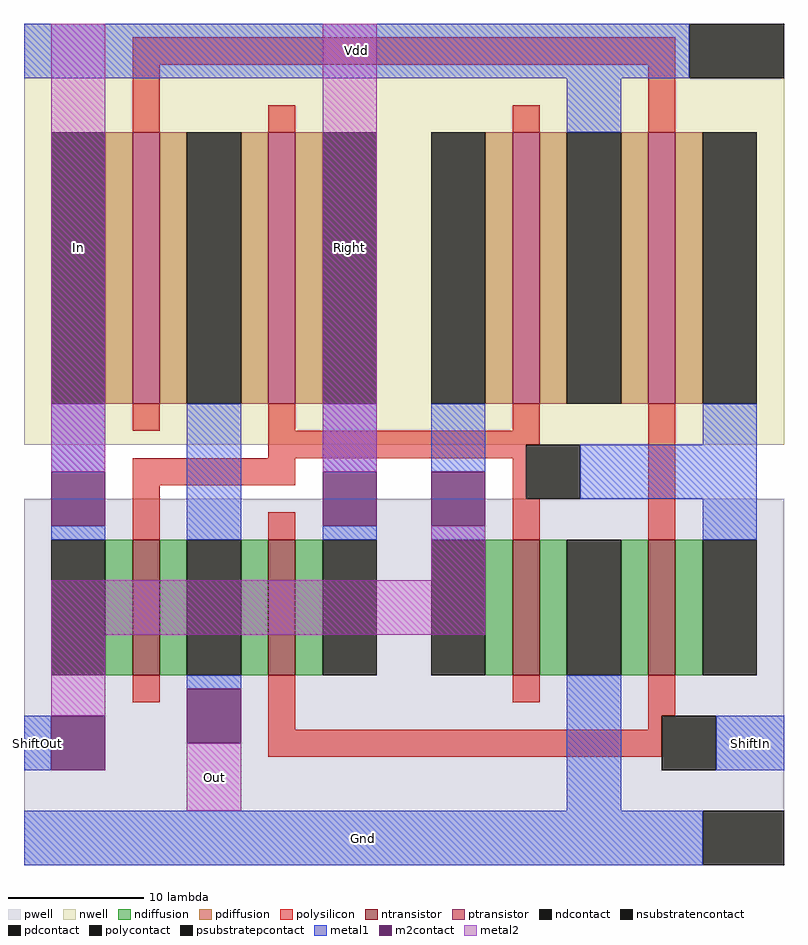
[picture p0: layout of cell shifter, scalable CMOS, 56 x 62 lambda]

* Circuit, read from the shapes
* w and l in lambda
.subckt shifter Gnd In Out Right ShiftIn ShiftOut Vdd
M1 Out n1 In Gnd nfet w=10 l=2
M2 Right ShiftIn Out Gnd nfet w=10 l=2
M3 Gnd n1 ShiftOut Gnd nfet w=10 l=2
M4 n1 ShiftIn Gnd Gnd nfet w=10 l=2
M5 Out ShiftIn In Vdd pfet w=20 l=2
M6 Right n1 Out Vdd pfet w=20 l=2
M7 Vdd n1 ShiftOut Vdd pfet w=20 l=2
M8 n1 ShiftIn Vdd Vdd pfet w=20 l=2
.ends

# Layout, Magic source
magic
tech scmos
<< pwell >>
rect -27 -29 29 -2
<< nwell >>
rect -27 2 29 33
<< polysilicon >>
rect -19 30 21 32
rect -19 25 -17 30
rect -9 25 -7 27
rect 9 25 11 27
rect 19 25 21 30
rect -19 3 -17 5
rect -9 3 -7 5
rect 9 3 11 5
rect -9 2 11 3
rect -9 1 10 2
rect -19 -1 -7 1
rect -19 -5 -17 -1
rect 9 -2 10 1
rect -9 -5 -7 -3
rect 9 -5 11 -2
rect 19 -5 21 5
rect -19 -17 -17 -15
rect -9 -19 -7 -15
rect 9 -17 11 -15
rect 19 -18 21 -15
rect 19 -19 20 -18
rect -9 -21 20 -19
<< ndiffusion >>
rect -21 -15 -19 -5
rect -17 -15 -15 -5
rect -11 -15 -9 -5
rect -7 -15 -5 -5
rect 7 -15 9 -5
rect 11 -15 13 -5
rect 17 -15 19 -5
rect 21 -15 23 -5
<< pdiffusion >>
rect -21 5 -19 25
rect -17 5 -15 25
rect -11 5 -9 25
rect -7 5 -5 25
rect 7 5 9 25
rect 11 5 13 25
rect 17 5 19 25
rect 21 5 23 25
<< metal1 >>
rect -27 29 22 33
rect 13 25 17 29
rect -25 0 -21 5
rect -25 -5 -21 -4
rect -15 -5 -11 5
rect -5 0 -1 5
rect -5 -5 -1 -4
rect 3 0 7 5
rect 23 2 27 5
rect 14 -2 27 2
rect 3 -5 7 -4
rect 23 -5 27 -2
rect -15 -16 -11 -15
rect -27 -22 -25 -18
rect 13 -25 17 -15
rect 24 -22 29 -18
rect -27 -29 23 -25
<< metal2 >>
rect -25 0 -21 33
rect -5 0 -1 33
rect 3 -8 7 -4
rect -25 -12 7 -8
rect -25 -18 -21 -12
rect -15 -25 -11 -20
<< ntransistor >>
rect -19 -15 -17 -5
rect -9 -15 -7 -5
rect 9 -15 11 -5
rect 19 -15 21 -5
<< ptransistor >>
rect -19 5 -17 25
rect -9 5 -7 25
rect 9 5 11 25
rect 19 5 21 25
<< polycontact >>
rect 10 -2 14 2
rect 20 -22 24 -18
<< ndcontact >>
rect -25 -15 -21 -5
rect -15 -15 -11 -5
rect -5 -15 -1 -5
rect 3 -15 7 -5
rect 13 -15 17 -5
rect 23 -15 27 -5
<< pdcontact >>
rect -25 5 -21 25
rect -15 5 -11 25
rect -5 5 -1 25
rect 3 5 7 25
rect 13 5 17 25
rect 23 5 27 25
<< m2contact >>
rect -25 -4 -21 0
rect -5 -4 -1 0
rect 3 -4 7 0
rect -25 -22 -21 -18
rect -15 -20 -11 -16
<< psubstratepcontact >>
rect 23 -29 29 -25
<< nsubstratencontact >>
rect 22 29 29 33
<< labels >>
rlabel metal1 -27 29 22 33 5 Vdd
rlabel metal1 -27 -29 23 -25 1 Gnd
rlabel metal2 -25 0 -21 33 3 In
rlabel metal2 -5 0 -1 33 1 Right
rlabel metal1 24 -22 29 -18 7 ShiftIn
rlabel metal1 -27 -22 -25 -18 3 ShiftOut
rlabel metal2 -15 -25 -11 -20 1 Out
<< end >>
